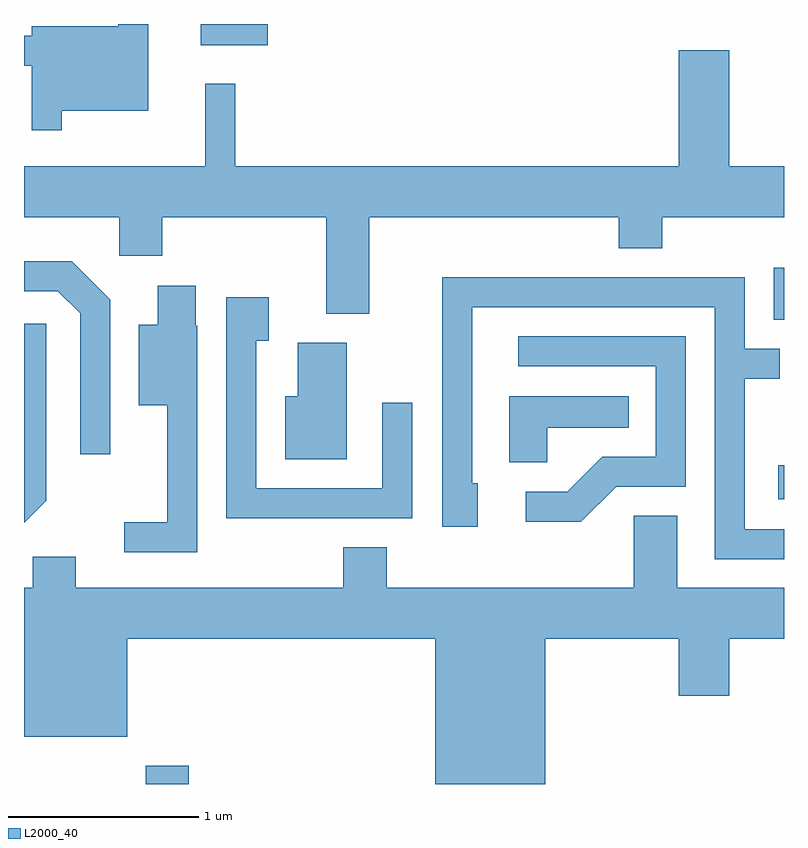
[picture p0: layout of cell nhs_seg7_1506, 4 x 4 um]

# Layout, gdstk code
import gdstk
lib = gdstk.Library(unit=1e-6, precision=1e-09)
def R(c, l, rs):  # rectangles x0, y0, x1, y1
    for r in rs: c.add(gdstk.rectangle(r[:2], r[2:], *l))
def P(c, l, *ps):  # polygons
    for p in ps: c.add(gdstk.Polygon(p, *l))
L2000_40 = (2000, 40)

nhs_seg7_1506 = lib.new_cell('nhs_seg7_1506')
R(nhs_seg7_1506, L2000_40, [(232.251,1680.252,232.479,1680.349), (235.581,1681.751,235.611,1681.929), (235.556,1682.696,235.611,1682.968), (232.541,1684.141,232.894,1684.252)])
P(nhs_seg7_1506, L2000_40, [(231.809,1683.796),(232.264,1683.796),(232.264,1684.252),(232.106,1684.252),(232.106,1684.239),(231.651,1684.239),(231.651,1684.189),(231.611,1684.189),(231.611,1684.031),(231.651,1684.031),(231.651,1683.693),(231.809,1683.693)],
  [(233.429,1683.236),(234.741,1683.236),(234.741,1683.071),(234.969,1683.071),(234.969,1683.236),(235.611,1683.236),(235.611,1683.504),(235.324,1683.504),(235.324,1684.114),(235.056,1684.114),(235.056,1683.504),(232.724,1683.504),(232.724,1683.938),(232.566,1683.938),(232.566,1683.504),(231.611,1683.504),(231.611,1683.236),(232.111,1683.236),(232.111,1683.031),(232.339,1683.031),(232.339,1683.236),(233.201,1683.236),(233.201,1682.726),(233.429,1682.726)],
  [(232.064,1682.802),(231.862,1683.004),(231.611,1683.004),(231.611,1682.846),(231.789,1682.846),(231.906,1682.729),(231.906,1681.988),(232.064,1681.988)],
  [(235.611,1681.594),(235.404,1681.594),(235.404,1682.386),(235.588,1682.386),(235.588,1682.544),(235.404,1682.544),(235.404,1682.919),(233.811,1682.919),(233.811,1681.606),(233.999,1681.606),(233.999,1681.834),(233.969,1681.834),(233.969,1682.761),(235.246,1682.761),(235.246,1681.436),(235.611,1681.436)],
  [(232.524,1682.665),(232.514,1682.665),(232.514,1682.874),(232.316,1682.874),(232.316,1682.669),(232.216,1682.669),(232.216,1682.246),(232.366,1682.246),(232.366,1681.629),(232.138,1681.629),(232.138,1681.471),(232.524,1681.471)],
  [(233.654,1682.258),(233.496,1682.258),(233.496,1681.809),(232.834,1681.809),(232.834,1682.586),(232.899,1682.586),(232.899,1682.814),(232.676,1682.814),(232.676,1681.651),(233.654,1681.651)],
  [(231.729,1681.744),(231.729,1682.674),(231.611,1682.674),(231.611,1681.626)],
  [(234.727,1681.816),(235.094,1681.816),(235.094,1682.609),(234.213,1682.609),(234.213,1682.451),(234.936,1682.451),(234.936,1681.974),(234.654,1681.974),(234.469,1681.789),(234.253,1681.789),(234.253,1681.631),(234.542,1681.631)],
  [(233.309,1682.574),(233.051,1682.574),(233.051,1682.294),(232.986,1682.294),(232.986,1681.961),(233.309,1681.961)],
  [(234.364,1682.126),(234.793,1682.126),(234.793,1682.294),(234.166,1682.294),(234.166,1681.946),(234.364,1681.946)],
  [(234.354,1681.016),(235.056,1681.016),(235.056,1680.716),(235.324,1680.716),(235.324,1681.016),(235.611,1681.016),(235.611,1681.284),(235.049,1681.284),(235.049,1681.664),(234.821,1681.664),(234.821,1681.284),(233.519,1681.284),(233.519,1681.499),(233.291,1681.499),(233.291,1681.284),(231.884,1681.284),(231.884,1681.449),(231.656,1681.449),(231.656,1681.284),(231.611,1681.284),(231.611,1680.501),(232.154,1680.501),(232.154,1681.016),(233.776,1681.016),(233.776,1680.252),(234.354,1680.252)])

lib.write_gds('nhs_seg7_1506.gds')
